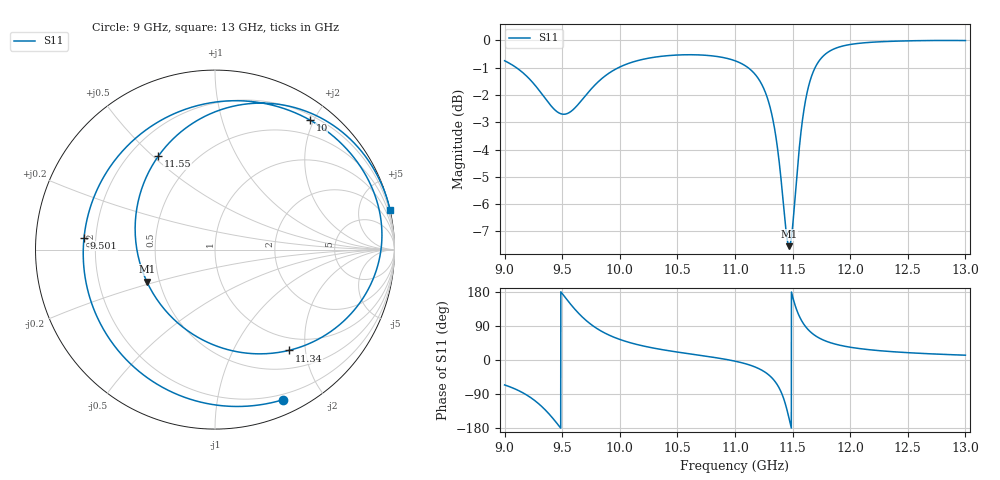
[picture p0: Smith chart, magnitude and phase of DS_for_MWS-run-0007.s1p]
! TOUCHSTONE file generated by CST DESIGN STUDIO
! Date and time: Tue Jan 28 13:35:11 2025
! Project name: C:\Work\MatlabApps\UnitCellOptimizationMatlabNew\CST\unitcell.cst
! Tree item: Tasks\Sweep1\SPara1\S-Parameters
! Header version: 2024
! Port assignment regex: !\s*Touchstone port\s*([0-9]+)\s*=\s*(CST MWS port|CST DES external port|CST DES block port)\s*(.+)\s* \(\"(.*)\"\)(\s*mode\s*([0-9]+))?.*
! Touchstone port assignment:
! Touchstone port 1 = CST DES external port 1 ("")
# GHz S MA R 50
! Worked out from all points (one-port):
!   4001 points, 9 GHz to 13 GHz, reference 50 ohm
!   lowest |S11| = -7.5 dB at 11.47 GHz (marker M1), VSWR 2.45, Z = 21.3 - j9.18 ohm
!   |S11| at or under -10 dB: nowhere
!   S11 on the Smith chart (normalised r, x): 9 GHz: 0.14, -1.54; 9.501 GHz: 0.15, +0.04; 10 GHz: 0.27, +1.94; 11.34 GHz: 0.78, -1.70; 11.55 GHz: 0.31, +0.52; 13 GHz: 0.02, +9.00
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9  0.9179 -65.8
9.167  0.8696 -88.0
9.282  0.819 -111.9
9.409  0.7563 -150.4
9.5  0.7328 175.2
9.501  0.7328 174.8
9.611  0.7524 133.6
9.71  0.7959 103.7
9.853  0.8545 73.8
10  0.8939 54.3
10.004  0.8948 53.8
10.215  0.9248 36.2
10.5  0.9403 20.9
11  0.9178 -3.1
11.212  0.8453 -23.6
11.282  0.7833 -36.7
11.34  0.6961 -53.8
11.41  0.5289 -91.5
11.47  0.4197 -154.9
11.5  0.4559 167.3
11.55  0.6094 121.1
11.584  0.7105 100.8
11.622  0.7957 84.6
11.734  0.9198 57.5
11.845  0.9617 44.1
12  0.983 33.7
12.5  0.9983 19.3
13  0.9995 12.7
